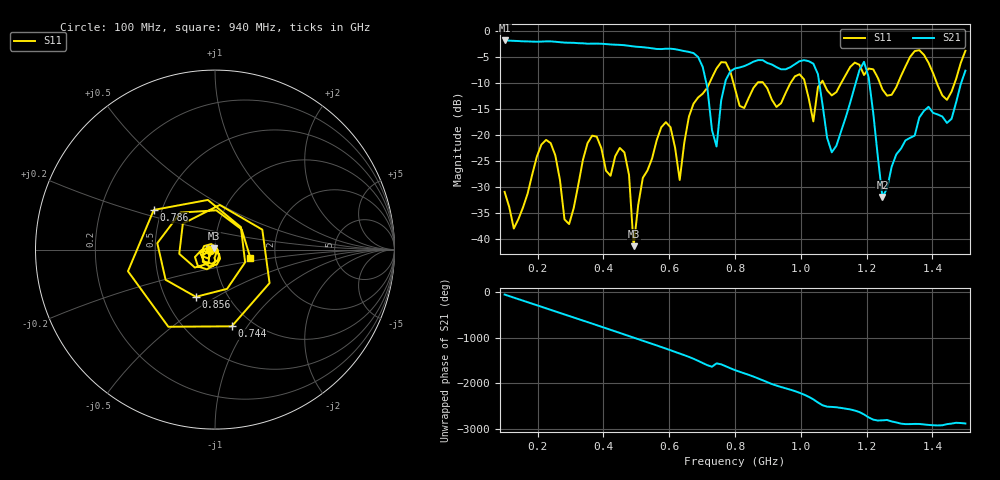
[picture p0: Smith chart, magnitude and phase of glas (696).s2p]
! NanoVNA-App
! Date: 2025-09-25 16:00:54
! Start: 100MHz Stop: 1,5GHz Points: 101
! S-Parameter data: F S11 S21 S12 S22
# Hz S RI R 50
!  Frequency  S11_Real  S11_Imag  S21_Real  S21_Imag  S12_Real  S12_Imag  S22_Real  S22_Imag
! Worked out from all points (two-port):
!   101 points, 100 MHz to 1.5 GHz, reference 50 ohm
!   highest |S21| = -1.80 dB at 100 MHz (marker M1); lowest = -31.9 dB at 1.248 GHz (marker M2)
!   |S21| within 3 dB of the highest: start of sweep to 684.4 MHz
!   lowest |S11| = -41.4 dB at 492 MHz (marker M3), VSWR 1.02, Z = 49.5 + j0.654 ohm
!   |S11| at or under -10 dB: start of sweep to 722.4 MHz; 795.4 MHz to 867.8 MHz (72.45 MHz wide, 8.71 % of centre); 886.3 MHz to 968.5 MHz (82.24 MHz wide, 8.87 % of centre) (the widest 3 of 7)
!   S12 and S22 are empty: the file has one direction only
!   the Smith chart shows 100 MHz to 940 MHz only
!   S11 on the Smith chart (normalised r, x): 100 MHz: 0.94, -0.01; 744 MHz: 0.80, -0.85; 786 MHz: 0.45, +0.24; 856 MHz: 0.71, -0.41; 940 MHz: 1.48, -0.14
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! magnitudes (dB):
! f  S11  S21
! 100 MHz  -30.9  -1.8
! 128 MHz  -38.0  -1.9
! 226 MHz  -20.9  -2.0
! 296 MHz  -37.1  -2.2
! 338 MHz  -24.8  -2.3
! 464 MHz  -23.3  -2.7
! 492 MHz  -41.4  -3.0
! 576 MHz  -18.5  -3.5
! 632 MHz  -28.6  -3.7
! 702 MHz  -12.0  -6.9
! 744 MHz  -7.2  -22.2
! 786 MHz  -7.8  -7.7
! 800 MHz  -11.1  -7.2
! 856 MHz  -10.9  -5.9
! 940 MHz  -13.9  -7.4
! 996 MHz  -8.3  -5.8
! 1.038 GHz  -17.4  -6.3
! 1.094 GHz  -12.4  -23.3
! 1.192 GHz  -8.4  -5.9
! 1.248 GHz  -11.2  -31.9
! 1.276 GHz  -12.2  -26.1
! 1.5 GHz  -3.8  -7.6
